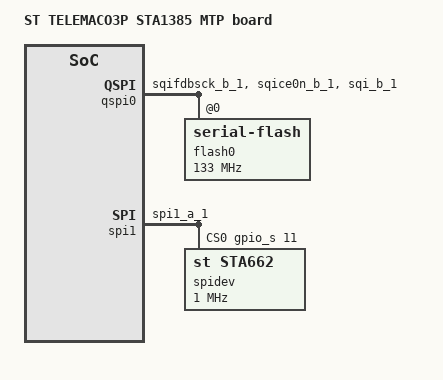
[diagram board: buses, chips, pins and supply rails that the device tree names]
/*
 * Copyright (C) 2016 STMicroelectronics
 *
 * This program is free software; you can redistribute it and/or modify
 * it under the terms of the GNU General Public License version 2, as
 * published by the Free Software Foundation.
 */

/dts-v1/;
#include "sta1385.dtsi"
#include "ste-nomadik-pinctrl.dtsi"
#include "sta1385-audio.dtsi"

/ {
	model = "ST TELEMACO3P STA1385 MTP board";
	compatible = "st,sta1385";

	chosen {
		bootargs = "console=ttyAMA1,115200n8 rw rootwait quiet earlyprintk
					root=/dev/mmcblk0p1 rootfstype=ext4 systemd.gpt_auto=0
					coherent_pool=4M";
	};

	soc {
		can0: c_can@40010000 {
			status = "disabled";
		};

		can1: m_can@50183000 {
			pinctrl-names = "default", "sleep";
			pinctrl-0 = <&can1_default_mux>;
			pinctrl-1 = <&can1_default_mux>;
		};

		can2: m_can@50183400 {
			pinctrl-names = "default", "sleep";
			pinctrl-0 = <&can2_default_mux>;
			pinctrl-1 = <&can2_default_mux>;
		};

		ethernet0: dwmac@500a0000 {
			pinctrl-names = "default", "sleep";
			pinctrl-0 = <&eth0_default_mux>;
			pinctrl-1 = <&eth0_default_mux>;
			snps,reset-gpio = <&gpio_m3 11 0>;
			snps,reset-active-low;
			snps,reset-delays-us = <100 100 100>;
			phy-mode = "rgmii";
			mac-address = [00 00 00 00 00 00];
			rxc-skew-ps = <1860>;
			rxd0-skew-ps = <240>;
			rxd1-skew-ps = <240>;
			rxd2-skew-ps = <240>;
			rxd3-skew-ps = <240>;
		};

		ethernet1: dwmac@500c0000 {
			pinctrl-names = "default", "sleep";
			pinctrl-0 = <&eth1_default_mux>;
			pinctrl-1 = <&eth1_default_mux>;
			snps,reset-gpio = <&gpio_m3 4 0>;
			snps,reset-active-low;
			snps,reset-delays-us = <100 100 100>;
			phy-mode = "rgmii";
			mac-address = [00 00 00 00 00 00];
			rxc-skew-ps = <1860>;
			rxd0-skew-ps = <240>;
			rxd1-skew-ps = <240>;
			rxd2-skew-ps = <240>;
			rxd3-skew-ps = <240>;
		};

		fsmc: flash@80000000 {
			pinctrl-names = "default", "sleep";
			pinctrl-0 = <&fsmc_default_mux>;
			pinctrl-1 = <&fsmc_default_mux>;
		};

		i2c0: i2c@50160000 {
			pinctrl-names = "default", "sleep";
			pinctrl-0 = <&i2c0_default_mux>;
			pinctrl-1 = <&i2c0_default_mux>;
			status = "disabled";
		};

		i2c1: i2c@50040000 {
			pinctrl-names = "default", "sleep";
			pinctrl-0 = <&i2c1_default_mux>;
			pinctrl-1 = <&i2c1_default_mux>;
			status = "disabled";
		};

		i2c2: i2c@50030000 {
			pinctrl-names = "default", "sleep";
			pinctrl-0 = <&i2c2_default_mux>;
			pinctrl-1 = <&i2c2_default_mux>;
			status = "disabled";
		};

		msp1: msp@48010000 {
			pinctrl-names = "default", "sleep";
			pinctrl-0 = <&i2s1_default_mux>;
			pinctrl-1 = <&i2s1_default_mux>;
		};

		msp2: msp@48020000 {
			pinctrl-names = "default", "sleep";
			pinctrl-0 = <&i2s2_default_mux>;
			pinctrl-1 = <&i2s2_default_mux>;
			i2s {
				/* GCR */
				tx-clk-pol = "falling";
				rx-clk-pol = "rising";
				tx-fsync-sel = "master";
				rx-fsync-sel = "master";
				tx-clk-sel = "master";
				rx-clk-sel = "master";
				/* TCF */
				tx-elem-len-1 = <32>;
				tx-frame-len-1 = <1>;
				tx-data-delay = <1>;
				/* RCF */
				rx-elem-len-1 = <32>;
				rx-frame-len-1 = <1>;
				rx-data-delay = <1>;
			};
		};

		qspi0: sqi@50200000 {
			status = "okay";
			pinctrl-names = "default", "sleep";
			pinctrl-0 = <&sqi_default_mux>;
			pinctrl-1 = <&sqi_default_mux>;

			flash0: serial-flash@0 {
				#address-cells = <1>;
				#size-cells = <1>;
				spi-max-frequency = <133000000>;
			};
		};

		sdi0: sdi@50080000 {
			pinctrl-names = "default", "sleep";
			pinctrl-0 = <&sdi0_default_mux>;
			pinctrl-1 = <&sdi0_default_mux>;
		};

		sdi1: sdi@50070000 {
			pinctrl-names = "default", "sleep";
			pinctrl-0 = <&sdi1_default_mux>;
			pinctrl-1 = <&sdi1_default_mux>;
			bus-width = <8>;
			max-frequency = <50000000>;
			st,sig-pin-fbclk;
			broken-cd;
		};

		spi0: spi@50170000 {
			status = "disabled";
		};

		spi1: spi@50060000 {
			pinctrl-names = "default", "sleep";
			pinctrl-0 = <&spi1_default_mux>;
			pinctrl-1 = <&spi1_default_mux>;
			num-cs = <1>;
			cs-gpios = <&gpio_s 11 0>;
			spidev@0 {
				compatible = "st,sta662";
				spi-max-frequency = <1000000>;
				reg = <0>;
				spi-cpol;
				spi-cpha;
				pl022,hierarchy = <0>;
				pl022,interface = <0>;
				pl022,duplex = <0>;
			};
		};

		spi2: spi@50050000 {
			pinctrl-names = "default", "sleep";
			pinctrl-0 = <&spi2_default_mux>;
			pinctrl-1 = <&spi2_default_mux>;
			num-cs = <1>;
			spidev@0 {
				status = "disabled";
				compatible = "st,sta662";
				spi-max-frequency = <1000000>;
				reg = <0>;
				spi-cpol;
				spi-cpha;
				pl022,hierarchy = <0>;
				pl022,interface = <0>;
				pl022,duplex = <0>;
			};
			st33htpm0: st33htpm@0 {
				status = "disabled";
				compatible = "st,st33htpm-spi";
				reg = <0>;
				#address-cells = <1>;
				#size-cells = <0>;
				spi-max-frequency = <16000000>;
				pl022,hierarchy = <0>;
				pl022,interface = <0>;
				pl022,com-mode = <0x2>;
				pl022,rx-level-trig = <0>;
				pl022,tx-level-trig = <0>;
				pl022,ctrl-len = <0x11>;
				pl022,wait-state = <0>;
				pl022,duplex = <0>;
				/*spi-cpol;*/
				/*spi-cpha;*/
				cs-manual = <&gpio0 19 1>;
			};
		};

		uart0: uart@50150000 {
			pinctrl-names = "default", "sleep";
			pinctrl-0 = <&uart0_default_mux>;
			pinctrl-1 = <&uart0_default_mux>;
			status = "disabled";
		};

		uart1: uart@50000000 {
			pinctrl-names = "default", "sleep";
			pinctrl-0 = <&uart1_default_mux>;
			pinctrl-1 = <&uart1_default_mux>;
		};

		uart2: uart@50010000 {
			pinctrl-names = "default", "sleep";
			pinctrl-0 = <&uart2_default_mux>;
			pinctrl-1 = <&uart2_default_mux>;
		};

		uart3: uart@50020000 {
			pinctrl-names = "default", "sleep";
			pinctrl-0 = <&uart3_default_mux>;
			pinctrl-1 = <&uart3_default_mux>;
		};

		uart4: uart@60835000 {
			status = "disabled";
		};

		uart5: uart@60836000 {
			status = "disabled";
		};

		usb0: usb@48400000 {
			st,vbus_sensing_gadget;
			st,vbus_raw_limit = <0x300>;
			io-channels = <&saradc 1>;
		};

		usbphy: usb-phy@48440000 {
			pinctrl-names = "default", "sleep";
			pinctrl-0 = <&drvvbus_default_mux>;
			pinctrl-1 = <&drvvbus_default_mux>;
			st,usb0_mode = "DEVICE";
			st,usb0_cdp;
			st,usb1_mode = "HOST";
			st,usb1_cdp;
		};

		pinctrl {
			can1 {
				can1_default_mux: can_mux {
					default_mux {
						function = "can1";
						groups = "can1_a_1";
					};
				};
			};
			can2 {
				can2_default_mux: can_mux {
					default_mux {
						function = "can2";
						groups = "can2_a_1";
					};
				};
			};
			eth0 {
				eth0_default_mux: eth0_mux {
					default_mux {
						function = "eth0";
						groups = "eth0tx_a_1",
							"eth0rx_a_1",
							"eth0mdio_a_1",
							"eth0mdc_a_1",
							"eth0miitxclk_a_1",
							"eth0rmiiclk_a_1";
					};
				};
			};
			eth1 {
				eth1_default_mux: eth1_mux {
					default_mux {
						function = "eth1";
						groups = "eth1rxtx_b_1",
							"eth1rxtx_c_1",
							"eth1mdio_b_1",
							"eth1mdc_b_1",
							"eth1miitxclk_b_1",
							"eth1rmiiclk_b_1";
					};
				};
				eth1_interposer_mux: eth1_interposer_mux {
					default_mux {
						function = "eth1";
						groups = "eth1_c_1";
					};
				};
			};
			fsmc {
				fsmc_default_mux: fsmc_mux {
					default_mux {
						function = "fsmc";
						groups = "fsmcsmadq0to7_a_1",
							"fsmcwpn_a_1",
							"fsmcbusy_a_1",
							"fsmcoen_a_1",
							"fsmcwen_a_1",
							"fsmcsmad17ale_a_1",
							"fsmcsmad16cle_a_1",
							"fsmcnandcs0n_a_1";
					};
				};
			};
			i2c0 {
				i2c0_default_mux: i2c_mux {
					default_mux {
						function = "i2c0";
						groups = "i2c0_a_1";
					};
				};
			};
			i2c1 {
				i2c1_default_mux: i2c_mux {
					default_mux {
						function = "i2c1";
						groups = "i2c1_a_1";
					};
				};
			};
			i2c2 {
				i2c2_default_mux: i2c_mux {
					default_mux {
						function = "i2c2";
						groups = "i2c2_a_1";
					};
				};
			};

			i2s1 {
				i2s1_default_mux: i2s_mux {
					default_mux {
						function = "i2s1";
						groups = "i2s1_a_1";
					};
				};
			};

			i2s2 {
				i2s2_default_mux: i2s_mux {
					default_mux {
						function = "i2s2";
						groups = "i2s2_b_1";
					};
				};
			};

			sdi0 {
				sdi0_default_mux: sdi_mux {
					default_mux {
						function = "mc0";
						groups = "mc0cmd_a_1",
							"mc0clk_a_1",
							"mc0fbclk_a_1",
							"mc0dat0to3_a_1",
							"mc0pwr_a_1";
					};
				};
			};
			sdi1 {
				sdi1_default_mux: sdi_mux {
					default_mux {
						function = "mc1";
						groups = "mc1cmd_a_1",
							"mc1clk_a_1",
							"mc1fbclk_a_1",
							"mc1dat0to7_a_1";
					};
				};
			};
			spi1 {
				spi1_default_mux: spi_mux {
					default_mux {
						function = "spi1";
						groups = "spi1_a_1";
					};
				};
			};
			spi2 {
				spi2_default_mux: spi_mux {
					default_mux {
						function = "spi2";
						groups = "spi2_a_1";
					};
				};
			};
			sqi {
				sqi_default_mux: sqi_mux {
					default_mux {
						function = "sqi";
						groups = "sqifdbsck_b_1",
							"sqice0n_b_1",
							"sqi_b_1";
					};
				};
			};
			uart0 {
				uart0_default_mux: uart_mux {
					default_mux {
						function = "u0";
						groups = "u0rxtx_a_1",
							"u0rtscts_a_1";
					};
				};
			};
			uart1 {
				uart1_default_mux: uart_mux {
					default_mux {
						function = "u1";
						groups = "u1rxtx_b_1",
							"u1rtscts_b_1";
					};
				};
			};
			uart2 {
				uart2_default_mux: uart_mux {
					default_mux {
						function = "u2";
						groups = "u2rxtx_a_1";
					};
				};
			};
			uart3 {
				uart3_default_mux: uart_mux {
					default_mux {
						function = "u3";
						groups = "u3rxtx_c_1";
					};
				};
			};
			uart4 {
				uart4_default_mux: uart_mux {
					default_mux {
						function = "u4";
						groups = "u4rxtx_b_2";
					};
				};
			};
			uart5 {
				uart5_default_mux: uart_mux {
					default_mux {
						function = "u5";
						groups = "u5rxtx_c_2";
					};
				};
			};
			usbphy {
				drvvbus_default_mux: drvvbus_default_mux {
					default_mux {
						function = "usb";
						groups = "usb0drvvbus_b_2",
							 "usb1drvvbus_b_2";
					};
				};
				drvvbus_dummy_mux: drvvbus_dummy_mux {
				};
			};
			wdg {
				wdg_default_mux: wdg_mux {
					default_mux {
						function = "wdg";
						groups = "wdgswrstout_a_1";
					};
				};
			};
		};
	};
};
